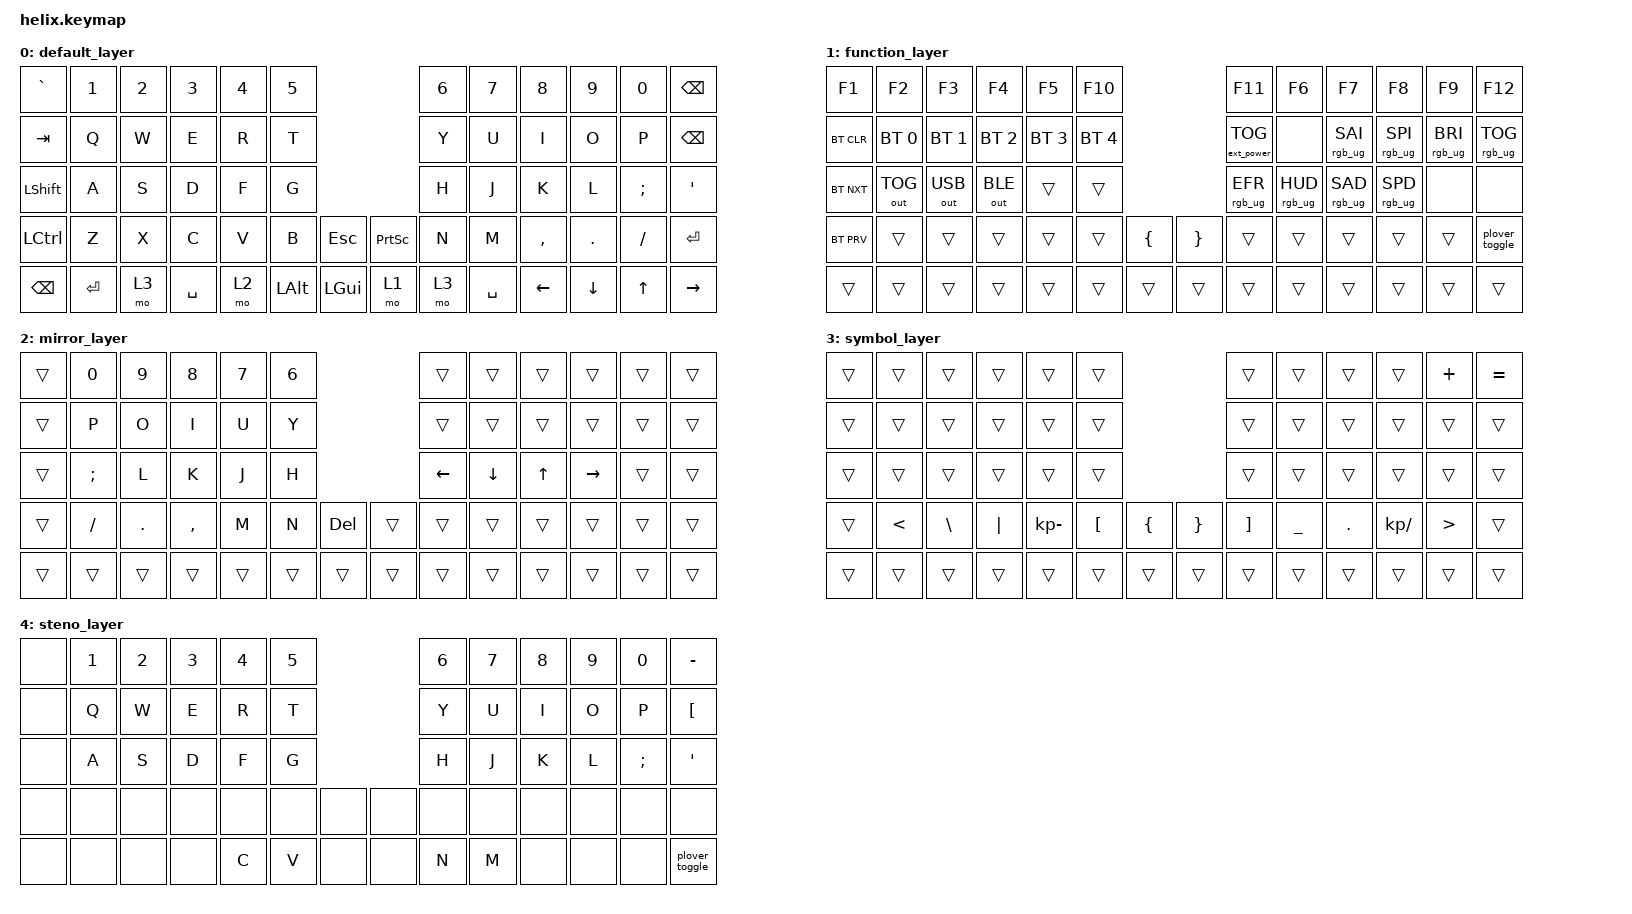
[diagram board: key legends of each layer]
/*
 * Copyright (c) 2020 The ZMK Contributors
 *
 * SPDX-License-Identifier: MIT
 */

#include <behaviors.dtsi>
#include <dt-bindings/zmk/bt.h>
#include <dt-bindings/zmk/ext_power.h>
#include <dt-bindings/zmk/keys.h>
#include <dt-bindings/zmk/outputs.h>
#include <dt-bindings/zmk/rgb.h>

#define DEFAULT 0
#define LOWER  1
#define RAISE  2
#define ADJUST 3

/* NOTE: At the time of the creation of this keymap, there are no specified codes for 'eisuu' and 'kana' input in ZMK.
However, 'LANG1' and 'LANG2' are fully-functioning candidates for 'kana' and 'eisuu' input respectively.
As such, those are in use within the default layer at this time.*/

/ {
    macros {
        plover_toggle: plover_toggle {
            compatible = "zmk,behavior-macro";
            #binding-cells = <0>;
            bindings =
                <&macro_press>,
                <&kp E &kp R &kp F &kp V &kp O &kp L>,
                <&macro_release>,
                <&kp E &kp R &kp F &kp V &kp O &kp L>,
                <&macro_tap>,
                <&tog 4>;

            label = "PLOVER_TOGGLE";
        };
    };

    keymap {
        compatible = "zmk,keymap";

        default_layer {
            // ---------------------------------------------------------------------------------------------------------------------------------
            // | GRAVE  |   1    |   2    |   3    |   4    |   5    |                                      |   6    |   7    |   8    |   9    |   0    |  DEL   |
            // |  TAB   |   Q    |   W    |   E    |   R    |   T    |                                      |   Y    |   U    |   I    |   O    |   P    |  BSPC  |
            // |  CTRL  |   A    |   S    |   D    |   F    |   G    |                                      |   H    |   J    |   K    |   L    |   ;    |   '    |
            // |  SHIFT |   Z    |   X    |   C    |   V    |   B    |  LBKT  |                    |  RBKT  |   N    |   M    |   ,    |   .    |   /    |  RET   |
            // | ADJUST |  ESC   |  ALT   |  LGUI  | EISUU  | LOWER  | SPACE  |                    |  SPACE | RAISE  |  KANA  |  LEFT  |  DOWN  |  UP    |  RIGHT |

            bindings = <
&kp GRAVE         &kp N1     &kp N2  &kp N3     &kp N4  &kp N5                                         &kp N6  &kp N7     &kp N8     &kp N9      &kp N0     &kp BACKSPACE
&kp TAB           &kp Q      &kp W   &kp E      &kp R   &kp T                                          &kp Y   &kp U      &kp I      &kp O       &kp P      &kp BSPC
&kp LEFT_SHIFT    &kp A      &kp S   &kp D      &kp F   &kp G                                          &kp H   &kp J      &kp K      &kp L       &kp SEMI   &kp SQT
&kp LEFT_CONTROL  &kp Z      &kp X   &kp C      &kp V   &kp B         &kp ESCAPE      &kp PRINTSCREEN  &kp N   &kp M      &kp COMMA  &kp PERIOD  &kp SLASH  &kp RET
&kp BACKSPACE     &kp ENTER  &mo 3   &kp SPACE  &mo 2   &kp LEFT_ALT  &kp LEFT_GUI    &mo 1            &mo 3   &kp SPACE  &kp LEFT   &kp DOWN    &kp UP     &kp RIGHT
            >;
        };

        function_layer {
            // ---------------------------------------------------------------------------------------------------------------------------------
            // |    `     |    !     |    @     |    #     |    $     |    %     |                                          |    ^     |    &     |    *     |    (     |    )     |  EP TOG  |
            // |  BT CLR  | BT SEL0  | BT SEL1  | BT SEL2  | BGT SEL3 | BT SEL4  |                                          | RGB EFF+ | RGB HUE+ | RGB SAT+ | RGB SPD+ | RGB BRI+ | RGB TOG  |
            // |  BT NXT  | OUT TOG  | OUT USB  | OUT BLE  |          |          |                                          | RGB EFF- | RGB HUE- | RGB SAT- | RGB SPD- | RGB BRI- |          |
            // |  BT PRV  |          |          |          |          |          |    {     |                    |    }     |          |          |          |          |          |          |
            // |          |          |          |          |          |          |          |                    |          |          |          |          |          |          |          |

            bindings = <
&kp F1      &kp F2        &kp F3        &kp F4        &kp F5        &kp F10                             &kp F11            &kp F6           &kp F7           &kp F8           &kp F9           &kp F12
&bt BT_CLR  &bt BT_SEL 0  &bt BT_SEL 1  &bt BT_SEL 2  &bt BT_SEL 3  &bt BT_SEL 4                        &ext_power EP_TOG  &none            &rgb_ug RGB_SAI  &rgb_ug RGB_SPI  &rgb_ug RGB_BRI  &rgb_ug RGB_TOG
&bt BT_NXT  &out OUT_TOG  &out OUT_USB  &out OUT_BLE  &trans        &trans                              &rgb_ug RGB_EFR    &rgb_ug RGB_HUD  &rgb_ug RGB_SAD  &rgb_ug RGB_SPD  &none            &none
&bt BT_PRV  &trans        &trans        &trans        &trans        &trans        &kp LBRC    &kp RBRC  &trans             &trans           &trans           &trans           &trans           &plover_toggle
&trans      &trans        &trans        &trans        &trans        &trans        &trans      &trans    &trans             &trans           &trans           &trans           &trans           &trans
            >;
        };

        mirror_layer {
            bindings = <
&trans  &kp N0    &kp N9   &kp N8     &kp N7  &kp N6                     &trans    &trans    &trans        &trans     &trans  &trans
&trans  &kp P     &kp O    &kp I      &kp U   &kp Y                      &trans    &trans    &trans        &trans     &trans  &trans
&trans  &kp SEMI  &kp L    &kp K      &kp J   &kp H                      &kp LEFT  &kp DOWN  &kp UP_ARROW  &kp RIGHT  &trans  &trans
&trans  &kp FSLH  &kp DOT  &kp COMMA  &kp M   &kp N   &kp DEL    &trans  &trans    &trans    &trans        &trans     &trans  &trans
&trans  &trans    &trans   &trans     &trans  &trans  &trans     &trans  &trans    &trans    &trans        &trans     &trans  &trans
            >;
        };

        symbol_layer {
            bindings = <
&trans  &trans         &trans         &trans    &trans           &trans                                               &trans             &trans     &trans      &trans         &kp PLUS          &kp EQUAL
&trans  &trans         &trans         &trans    &trans           &trans                                               &trans             &trans     &trans      &trans         &trans            &trans
&trans  &trans         &trans         &trans    &trans           &trans                                               &trans             &trans     &trans      &trans         &trans            &trans
&trans  &kp LESS_THAN  &kp BACKSLASH  &kp PIPE  &kp KP_SUBTRACT  &kp LEFT_BRACKET  &kp LEFT_BRACE    &kp RIGHT_BRACE  &kp RIGHT_BRACKET  &kp UNDER  &kp PERIOD  &kp KP_DIVIDE  &kp GREATER_THAN  &trans
&trans  &trans         &trans         &trans    &trans           &trans            &trans            &trans           &trans             &trans     &trans      &trans         &trans            &trans
            >;
        };

        steno_layer {
            bindings = <
&none  &kp N1  &kp N2  &kp N3  &kp N4  &kp N5                  &kp N6  &kp N7  &kp N8  &kp N9  &kp N0    &kp MINUS
&none  &kp Q   &kp W   &kp E   &kp R   &kp T                   &kp Y   &kp U   &kp I   &kp O   &kp P     &kp LBKT
&none  &kp A   &kp S   &kp D   &kp F   &kp G                   &kp H   &kp J   &kp K   &kp L   &kp SEMI  &kp APOS
&none  &none   &none   &none   &none   &none   &none    &none  &none   &none   &none   &none   &none     &none
&none  &none   &none   &none   &kp C   &kp V   &none    &none  &kp N   &kp M   &none   &none   &none     &plover_toggle
            >;
        };
    };
};
